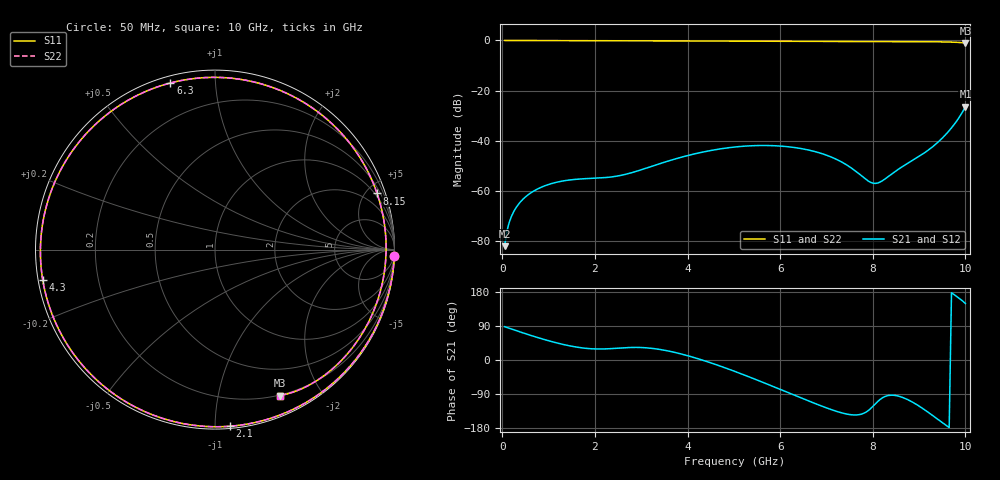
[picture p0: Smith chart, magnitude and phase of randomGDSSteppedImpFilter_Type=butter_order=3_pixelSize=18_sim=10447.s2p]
! freq	dB(S11)	phase(S11)	dB(S12)	phase(S12)
!  dB(S21)	phase(S21)	dB(S22)	phase(S22)
!S-par simulation data
#  GHz  S  DB  R 50
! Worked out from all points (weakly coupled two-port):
!   200 points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, 50 MHz to 10 GHz, reference 50 ohm
!   highest |S21| = -26.44 dB at 10 GHz (marker M1); lowest = -82.1 dB at 50 MHz (marker M2)
!   lowest |S11| = -1.0 dB at 10 GHz (marker M3), VSWR 17.17, Z = 9.72 - j76 ohm
!   |S11| at or under -10 dB: nowhere
!   |S22| runs from -1.0 to 0.0 dB; largest |S21 - S12| = 0
!   S11 on the Smith chart (normalised r, x): 50 MHz: 0, -54; 2.1 GHz: 0.01, -1.09; 4.3 GHz: 0.01, -0.09; 6.3 GHz: 0.03, +0.77; 8.15 GHz: 0.81, +5.83; 10 GHz: 0.19, -1.52
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0.05  -0.00 -2.1  -82.11 87.9  -82.11 87.9  -0.00 -2.1
0.15  -0.01 -6.3  -72.59 83.7  -72.59 83.7  -0.01 -6.3
0.25  -0.02 -10.5  -68.20 79.6  -68.20 79.6  -0.02 -10.5
0.55  -0.03 -22.9  -61.70 67.4  -61.70 67.4  -0.03 -22.9
1.05  -0.05 -43.4  -57.19 49.1  -57.19 49.1  -0.05 -43.4
1.75  -0.09 -71.5  -55.21 31.5  -55.21 31.5  -0.09 -71.5
2.1  -0.11 -85.2  -54.89 29.0  -54.89 29.0  -0.11 -85.2
2.75  -0.14 -110.4  -53.01 33.0  -53.01 33.0  -0.14 -110.3
3.4  -0.17 -135.2  -49.19 27.9  -49.19 27.9  -0.17 -135.2
4.3  -0.22 -170.1  -44.66 0.5  -44.66 0.5  -0.22 -170.1
5.05  -0.27 159.6  -42.47 -31.4  -42.47 -31.4  -0.27 159.6
5.65  -0.31 134.1  -41.92 -60.1  -41.92 -60.1  -0.31 134.1
6.3  -0.34 105.0  -42.71 -92.4  -42.71 -92.4  -0.34 105.0
6.7  -0.36 86.6  -44.11 -112.2  -44.11 -112.2  -0.36 86.6
7.35  -0.38 56.1  -48.73 -140.2  -48.73 -140.2  -0.38 56.1
7.95  -0.39 28.3  -56.60 -128.6  -56.60 -128.6  -0.39 28.2
8.15  -0.39 19.1  -56.59 -104.9  -56.59 -104.9  -0.39 19.1
8.35  -0.40 10.1  -54.10 -93.4  -54.10 -93.4  -0.40 10.1
8.85  -0.44 -12.2  -47.96 -110.6  -47.96 -110.6  -0.44 -12.2
9.4  -0.54 -36.5  -40.75 -156.1  -40.75 -156.1  -0.54 -36.6
9.75  -0.69 -52.9  -33.72 173.1  -33.72 173.1  -0.70 -53.0
10  -1.01 -66.1  -26.44 149.2  -26.44 149.2  -1.01 -66.2
